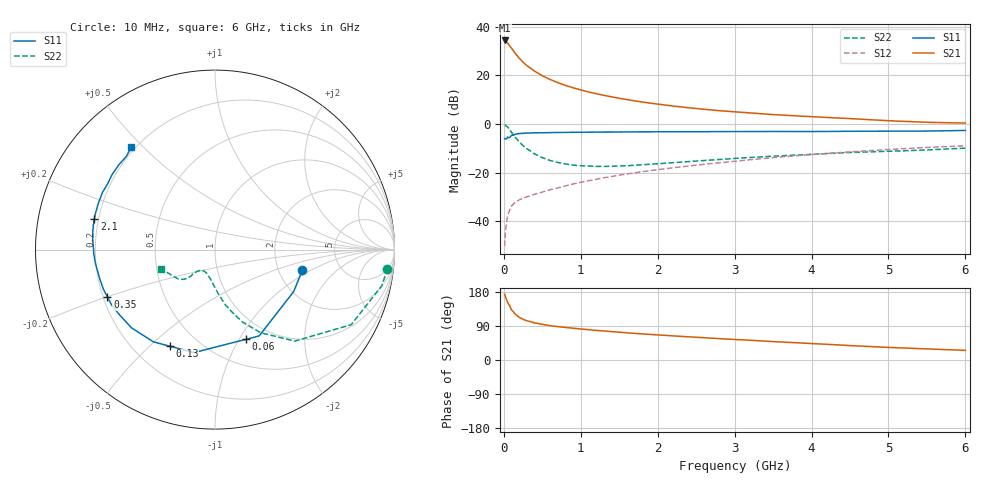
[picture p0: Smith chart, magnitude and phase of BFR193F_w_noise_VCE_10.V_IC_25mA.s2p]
! Infineon Technologies  Discrete & RF Semiconductors
! BFR193F
! VCE =  10. V,  IC =  25 mA
! Common Emitter S-Parameters:  Jan 2017
# GHz  S  MA  R  50
!  f  S11  S21  S12  S22
! GHz  MAG  ANG  MAG  ANG  MAG  ANG  MAG  ANG
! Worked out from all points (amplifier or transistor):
!   77 points, 10 MHz to 6 GHz, reference 50 ohm
!   highest |S21| = 34.3 dB at 10 MHz (marker M1)
!   |S21| within 3 dB of that: start of sweep to 95.02 MHz
!   unconditionally stable (mu >= 1): 1.193 GHz to 2.704 GHz
!   at 130 MHz: K = 0.32, MSG = 31.2 dB, |S12| = -32.7 dB
!   at 2.2 GHz: K = 1.02, MAG = 11.8 dB, |S12| = -18.0 dB
!   at 6 GHz: K = 0.83, MSG = 4.7 dB, |S12| = -8.9 dB
!   lowest NFmin = 1.11 dB at 450 MHz
!   S11 on the Smith chart (normalised r, x): 10 MHz: 2.71, -0.83; 60 MHz: 0.77, -1.07; 130 MHz: 0.35, -0.58; 350 MHz: 0.22, -0.20; 2.1 GHz: 0.18, +0.12; 6 GHz: 0.18, +0.46
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0.01  0.5002 -13.2  52.02 173.7  0.0031 80.2  0.9665 -6.3
0.02  0.4969 -28.0  50.98 167.4  0.0058 79.9  0.9511 -12.2
0.05  0.5403 -62.9  46.13 151.6  0.0132 66.6  0.8664 -28.9
0.06  0.5288 -70.9  43.77 148.4  0.0146 63.5  0.8215 -32.1
0.1  0.5858 -101.6  36.03 132.1  0.0207 55.6  0.6764 -48.9
0.13  0.5944 -115.2  31.05 125.8  0.0233 51.9  0.5848 -55.5
0.15  0.6179 -123.7  28 120.4  0.0251 49.8  0.5293 -61.2
0.2  0.6374 -136.8  22.48 112.6  0.0276 46.6  0.4316 -69.2
0.25  0.6445 -145.9  18.57 107.3  0.03 47.3  0.358 -75.0
0.3  0.6535 -152.0  15.82 103.4  0.032 48.2  0.3105 -79.6
0.35  0.6549 -156.3  13.96 101.0  0.034 49.3  0.2765 -82.5
0.4  0.6599 -160.5  12.12 97.8  0.036 50.2  0.2434 -86.1
0.5  0.6622 -165.9  9.811 94.0  0.04 53.9  0.204 -91.2
0.6  0.6659 -170.0  8.239 90.8  0.0447 56.7  0.1782 -95.7
0.8  0.6726 -175.7  6.219 85.9  0.0536 61.1  0.151 -103.7
1.1  0.6792 178.1  4.566 80.0  0.0684 65.0  0.1371 -112.8
1.5  0.6869 172.5  3.382 73.4  0.0889 68.6  0.138 -122.0
2.1  0.6943 165.6  2.451 65.0  0.1209 70.6  0.1567 -129.2
3.1  0.7 156.7  1.735 53.1  0.178 70.9  0.2009 -132.4
4.1  0.7027 147.7  1.389 42.4  0.2424 68.4  0.2427 -137.0
5.1  0.7143 137.7  1.152 32.4  0.3055 63.5  0.2789 -148.7
6  0.7382 129.1  1.047 25.4  0.3582 58.6  0.3198 -160.6
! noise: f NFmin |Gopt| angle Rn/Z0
0.45  1.11  0.36  173  0.06
0.9  1.19  0.41  174  0.06
1.9  1.77  0.57  -169  0.07
2.4  2.06  0.61  -160  0.11
